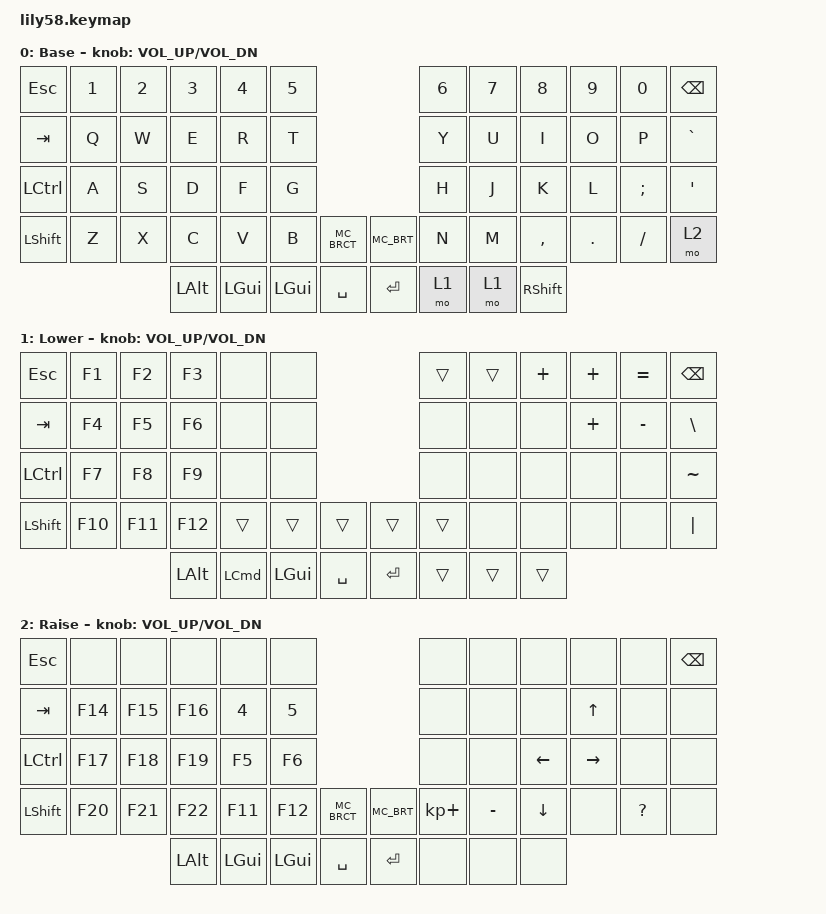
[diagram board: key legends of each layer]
/*
 * Copyright (c) 2020 The ZMK Contributors
 *
 * SPDX-License-Identifier: MIT
 */

#include <behaviors.dtsi>
#include <dt-bindings/zmk/keys.h>

/ {
    combos {
        compatible = "zmk,combos";

        char_b_combo {
            bindings = <&kp B>;
            key-positions = <44 45>;
        };

        f17_combo {
            bindings = <&kp F17>;
            key-positions = <51 53>;
        };

        eql_combo {
            bindings = <&kp EQUAL>;
            key-positions = <9 10>;
        };

        eql_gt_combo {
            bindings = <&MC_EQL_GT>;
            key-positions = <46 47>;
        };
    };

    macros {
        MC_BRCT: MC_BRCT {
            compatible = "zmk,behavior-macro";
            #binding-cells = <0>;
            bindings = <&kp LEFT_BRACKET &kp RIGHT_BRACKET &kp LEFT>;
            label = "MC_BRCT";
        };

        MC_BRT: MC_BRT {
            compatible = "zmk,behavior-macro";
            #binding-cells = <0>;
            bindings = <&kp LEFT_BRACE &kp RBRC &kp LEFT>;
            label = "MC_BRT";
        };

        MC_EQL_GT: MC_EQL_GT {
            compatible = "zmk,behavior-macro";
            #binding-cells = <0>;
            bindings = <&kp EQUAL &kp GREATER_THAN>;
            label = "MC_EQL_GT";
        };
    };

    keymap {
        compatible = "zmk,keymap";

        default_layer {
            // ------------------------------------------------------------------------------------------------------------
            // |  ESC  |  1  |  2  |  3   |  4   |  5   |                   |  6   |  7    |  8    |  9   |   0   |   `   |
            // |  TAB  |  Q  |  W  |  E   |  R   |  T   |                   |  Y   |  U    |  I    |  O   |   P   |   -   |
            // |  CTRL |  A  |  S  |  D   |  F   |  G   |                   |  H   |  J    |  K    |  L   |   ;   |   '   |
            // | SHIFT |  Z  |  X  |  C   |  V   |  B   |   "["  |  |  "]"  |  N   |  M    |  ,    |  .   |   /   | SHIFT |
            //                     | ALT  | GUI  | LOWER|  SPACE |  | ENTER | RAISE| BSPC  | GUI   |

            display-name = "Base";
            bindings = <
&kp ESC    &kp N1  &kp N2  &kp N3    &kp N4    &kp N5                            &kp N6  &kp N7  &kp N8           &kp N9   &kp N0    &kp BACKSPACE
&kp TAB    &kp Q   &kp W   &kp E     &kp R     &kp T                             &kp Y   &kp U   &kp I            &kp O    &kp P     &kp GRAVE
&kp LCTRL  &kp A   &kp S   &kp D     &kp F     &kp G                             &kp H   &kp J   &kp K            &kp L    &kp SEMI  &kp SQT
&kp LSHFT  &kp Z   &kp X   &kp C     &kp V     &kp B     &MC_BRCT     &MC_BRT    &kp N   &kp M   &kp COMMA        &kp DOT  &kp FSLH  &mo 2
                           &kp LALT  &kp LGUI  &kp LGUI  &kp SPACE    &kp ENTER  &mo 1   &mo 1   &kp RIGHT_SHIFT
            >;

            sensor-bindings = <&inc_dec_kp C_VOL_UP C_VOL_DN>;
        };

        lower_layer {
            // ------------------------------------------------------------------------------------------------------------
            // | BTCLR | BT1 | BT2 |  BT3 |  BT4 |  BT5 |                   |      |       |       |      |       |       |
            // |  F1   |  F2 |  F3 |  F4  |  F5  |  F6  |                   |  F7  |  F8   |  F9   |  F10 |  F11  |  F12  |
            // |   `   |  !  |  @  |  #   |  $   |  %   |                   |  ^   |  &    |  *    |  (   |   )   |   ~   |
            // |       |     |     |      |      |      |        |  |       |      |  _    |  +    |  {   |   }   |  "|"  |
            //                     |      |      |      |        |  |       |      |       |       |

            display-name = "Lower";
            bindings = <
&kp ESC           &kp F1   &kp F2   &kp F3        &none             &none                             &trans  &trans  &kp PLUS  &kp PLUS  &kp EQUAL  &kp BACKSPACE
&kp TAB           &kp F4   &kp F5   &kp F6        &none             &none                             &none   &none   &none     &kp PLUS  &kp MINUS  &kp BACKSLASH
&kp LEFT_CONTROL  &kp F7   &kp F8   &kp F9        &none             &none                             &none   &none   &none     &none     &none      &kp TILDE
&kp LEFT_SHIFT    &kp F10  &kp F11  &kp F12       &trans            &trans    &trans       &trans     &trans  &none   &none     &none     &none      &kp PIPE
                                    &kp LEFT_ALT  &kp LEFT_COMMAND  &kp LGUI  &kp SPACE    &kp ENTER  &trans  &trans  &trans
            >;

            sensor-bindings = <&inc_dec_kp C_VOL_UP C_VOL_DN>;
        };

        raise_layer {
            // ------------------------------------------------------------------------------------------------------------
            // |       |     |     |      |      |      |                   |      |       |       |      |       |       |
            // |   `   |  1  |  2  |  3   |  4   |  5   |                   |  6   |   7   |   8   |  9   |   0   |       |
            // |   F1  |  F2 |  F3 |  F4  |  F5  |  F6  |                   |      |   <-  |   v   |  ^   |  ->   |       |
            // |   F7  |  F8 |  F9 |  F10 |  F11 |  F12 |        |  |       |  +   |   -   |   =   |  [   |   ]   |   \   |
            //                     |      |      |      |        |  |       |      |       |       |

            display-name = "Raise";
            bindings = <
&kp ESCAPE        &none    &none    &none         &none     &none                             &none        &none      &none           &none      &none         &kp BACKSPACE
&kp TAB           &kp F14  &kp F15  &kp F16       &kp N4    &kp N5                            &none        &none      &none           &kp UP     &none         &none
&kp LEFT_CONTROL  &kp F17  &kp F18  &kp F19       &kp F5    &kp F6                            &none        &none      &kp LEFT        &kp RIGHT  &none         &none
&kp LEFT_SHIFT    &kp F20  &kp F21  &kp F22       &kp F11   &kp F12   &MC_BRCT     &MC_BRT    &kp KP_PLUS  &kp MINUS  &kp DOWN_ARROW  &none      &kp QUESTION  &none
                                    &kp LEFT_ALT  &kp LGUI  &kp LGUI  &kp SPACE    &kp ENTER  &none        &none      &none
            >;

            sensor-bindings = <&inc_dec_kp C_VOL_UP C_VOL_DN>;
        };

        extra_1 { status = "reserved"; };

        extra_2 { status = "reserved"; };

        extra_3 { status = "reserved"; };
    };
};

&led_strip { chain-length = <21>; };
